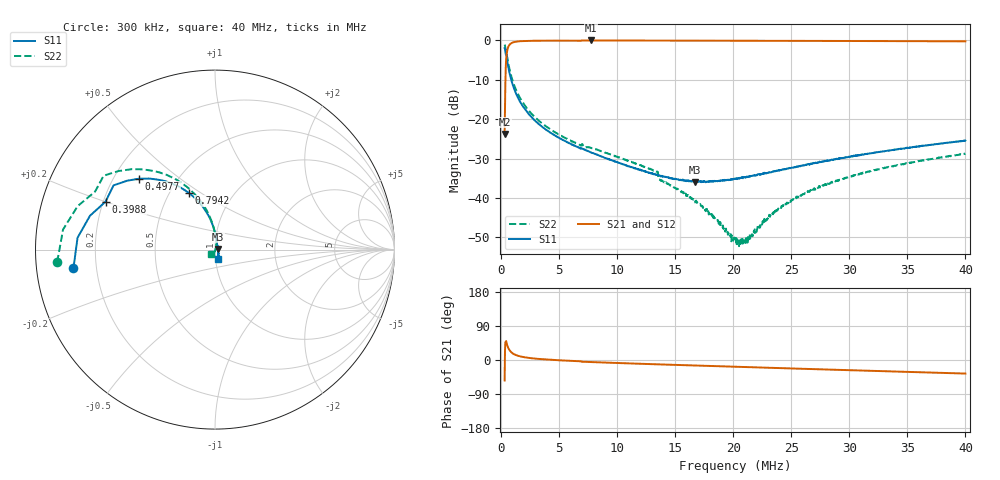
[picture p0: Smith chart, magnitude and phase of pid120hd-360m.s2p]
! Created with skrf 1.12.0 (http://scikit-rf.org).
! Data is not renormalized
! S-parameter uses the power definition
# Hz S RI R
!freq ReS11 ImS11 ReS21 ImS21 ReS12 ImS12 ReS22 ImS22
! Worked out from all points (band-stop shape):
!   1206 points, 300 kHz to 40 MHz, reference per port
!   highest |S21| = -0.04 dB at 7.713 MHz (marker M1); lowest = -23.8 dB at 300 kHz (marker M2)
!   |S21| within 3 dB of the highest: 497.5 kHz to end of sweep
!   lowest |S11| = -36.0 dB at 16.71 MHz (marker M3), VSWR 1.03
!   |S11| at or under -10 dB: 867.7 kHz to end of sweep
!   |S22| runs from -52.2 to -1.1 dB; largest |S21 - S12| = 0.0036
!   S11 on the Smith chart (normalised r, x): 300 kHz: 0.11, -0.06; 398.8 kHz: 0.21, +0.20; 497.7 kHz: 0.31, +0.36; 794.2 kHz: 0.62, +0.45; 40 MHz: 1.03, -0.10
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300000  -0.7884 -0.1029  0.0378 -0.0525  0.0384 -0.0518  -0.8792 -0.0694
! Port Impedance 100.00000000000000 0.00000000000000 100.00000000000000 0.00000000000000
398838  -0.61 0.2669  0.3124 0.3281  0.3144 0.3262  -0.6681 0.3231
497676  -0.4224 0.3951  0.5261 0.4691  0.5271 0.4681  -0.4631 0.4483
596514  -0.2823 0.3826  0.6804 0.4429  0.6811 0.4416  -0.3092 0.4301
794190  -0.1458 0.3159  0.8279 0.3552  0.8301 0.3528  -0.1607 0.3528
1057758  -0.0745 0.2462  0.9065 0.2644  0.9068 0.2639  -0.0835 0.2739
1519002  -0.0297 0.1771  0.9534 0.177  0.9534 0.1764  -0.0348 0.1963
2705058  -0.00227 0.1028  0.9826 0.0754  0.9829 0.0751  -0.00538 0.1136
4550034  0.00686 0.0628  0.989 0.000761  0.9889 0.000425  0.00405 0.0694
6922146  0.00892 0.0417  0.9907 -0.0776  0.9926 -0.0772  0.00858 0.0457
7712850  0.00985 0.0368  0.9909 -0.0916  0.9906 -0.0928  0.00443 0.0432
1.328072e7  0.014 0.0143  0.9726 -0.1936  0.9724 -0.1947  0.00644 0.0213
1.354429e7  0.0143 0.0134  0.9718 -0.1977  0.9717 -0.1987  0.00662 0.0163
1.374197e7  0.0139 0.0126  0.9712 -0.201  0.9712 -0.2022  0.00648 0.0154
1.670711e7  0.0153 0.00401  0.9585 -0.2488  0.958 -0.2498  0.00513 0.00715
1.812379e7  0.0164 0.000455  0.9512 -0.271  0.9513 -0.2721  0.00439 0.00423
2.016644e7  0.0171 -0.00428  0.9401 -0.3024  0.9402 -0.3038  0.0031 -9.5e-05
2.102303e7  0.0172 -0.00658  0.9353 -0.3148  0.9351 -0.3161  0.00203 -0.00183
2.365871e7  0.0179 -0.0128  0.9193 -0.3542  0.9192 -0.3557  -0.000213 -0.00694
2.678858e7  0.0187 -0.0197  0.8976 -0.3986  0.8974 -0.4004  -0.00374 -0.0117
3.341073e7  0.0187 -0.0351  0.8463 -0.4873  0.846 -0.4895  -0.0134 -0.0206
3.999993e7  0.0174 -0.0506  0.7868 -0.567  0.7859 -0.5699  -0.0247 -0.0271
